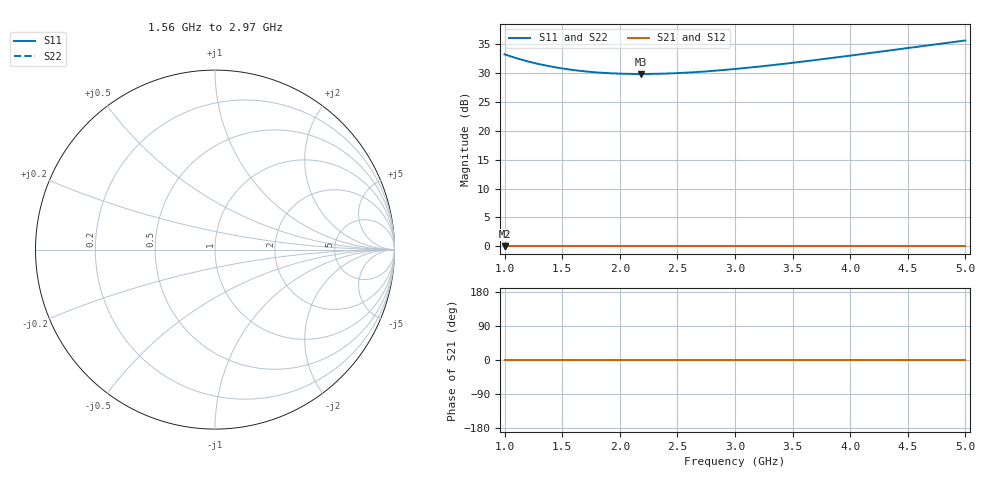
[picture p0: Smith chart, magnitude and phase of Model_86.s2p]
# GHZ S RI R 50
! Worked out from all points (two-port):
!   401 points, 1 GHz to 5 GHz, reference 50 ohm
!   highest |S21| = 0.00 dB at 1 GHz (marker M1); lowest = 0.0 dB at 1 GHz (marker M2)
!   |S21| within 3 dB of the highest: start of sweep to end of sweep
!   lowest |S11| = 29.9 dB at 2.18 GHz (marker M3)
!   |S11| at or under -10 dB: nowhere
!   |S22| runs from 29.9 to 35.7 dB; largest |S21 - S12| = 0
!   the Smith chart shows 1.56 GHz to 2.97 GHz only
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1  46.18 0  1 0  1 0  46.18 0
1.15  41.4 0  1 0  1 0  41.4 0
1.22  39.65 0  1 0  1 0  39.65 0
1.3  37.96 0  1 0  1 0  37.96 0
1.38  36.53 0  1 0  1 0  36.53 0
1.47  35.2 0  1 0  1 0  35.2 0
1.57  34 0  1 0  1 0  34 0
1.67  33.06 0  1 0  1 0  33.06 0
1.79  32.22 0  1 0  1 0  32.22 0
1.91  31.65 0  1 0  1 0  31.65 0
2.04  31.29 0  1 0  1 0  31.29 0
2.18  31.16 0  1 0  1 0  31.16 0
2.34  31.3 0  1 0  1 0  31.3 0
2.5  31.71 0  1 0  1 0  31.71 0
2.66  32.37 0  1 0  1 0  32.37 0
3  34.44 0  1 0  1 0  34.44 0
3.33  37.25 0  1 0  1 0  37.25 0
3.67  40.85 0  1 0  1 0  40.85 0
4  44.98 0  1 0  1 0  44.98 0
4.34  49.83 0  1 0  1 0  49.83 0
4.63  54.44 0  1 0  1 0  54.44 0
5  60.9 0  1 0  1 0  60.9 0
